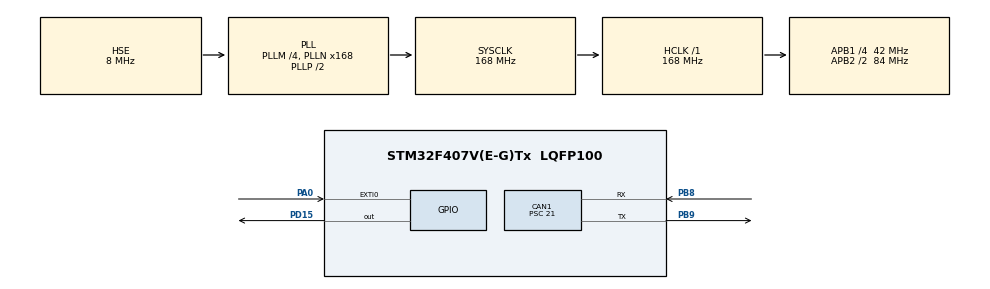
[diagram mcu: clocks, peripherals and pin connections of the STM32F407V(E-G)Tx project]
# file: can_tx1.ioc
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CAN1.BS1=CAN_BS1_2TQ
CAN1.CalculateBaudRate=500000
CAN1.CalculateTimeBit=2000
CAN1.CalculateTimeQuantum=500.0
CAN1.Prescaler=21
Mcu.Family=STM32F4
Mcu.Name=STM32F407V(E-G)Tx
Mcu.Package=LQFP100
NVIC.CAN1_RX0_IRQn=true\:0\:0\:false\:false\:true\:true\:true\:true
NVIC.EXTI0_IRQn=true\:0\:0\:false\:false\:true\:true\:true\:true
NVIC.PriorityGroup=NVIC_PRIORITYGROUP_0
PA0-WKUP.Signal=GPXTI0
PB8.GPIO_PuPd=GPIO_NOPULL
PB8.Mode=CAN_Activate
PB8.Signal=CAN1_RX
PB9.Mode=CAN_Activate
PB9.Signal=CAN1_TX
PD15.Signal=GPIO_Output
PH0-OSC_IN.Mode=HSE-External-Oscillator
PH0-OSC_IN.Signal=RCC_OSC_IN
PH1-OSC_OUT.Mode=HSE-External-Oscillator
PH1-OSC_OUT.Signal=RCC_OSC_OUT
ProjectManager.HeapSize=0x200
ProjectManager.StackSize=0x400
ProjectManager.TargetToolchain=STM32CubeIDE
RCC.48MHZClocksFreq_Value=48000000
RCC.AHBFreq_Value=168000000
RCC.APB1CLKDivider=RCC_HCLK_DIV4
RCC.APB1Freq_Value=42000000
RCC.APB1TimFreq_Value=84000000
RCC.APB2CLKDivider=RCC_HCLK_DIV2
RCC.APB2Freq_Value=84000000
RCC.APB2TimFreq_Value=168000000
RCC.CortexFreq_Value=168000000
RCC.HCLKFreq_Value=168000000
RCC.HSE_VALUE=8000000
RCC.HSI_VALUE=16000000
RCC.LSE_VALUE=32768
RCC.PLLM=4
RCC.PLLN=168
RCC.PLLQ=7
RCC.PLLSourceVirtual=RCC_PLLSOURCE_HSE
RCC.SYSCLKFreq_VALUE=168000000
RCC.SYSCLKSource=RCC_SYSCLKSOURCE_PLLCLK
RCC.VCOOutputFreq_Value=336000000
board=STM32F407G-DISC1

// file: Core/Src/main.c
/* USER CODE BEGIN Header */
/**
  ******************************************************************************
  * @file           : main.c
  * @brief          : Main program body
  ******************************************************************************
  * @attention
  *
  * Copyright (c) 2024 STMicroelectronics.
  * All rights reserved.
  *
  * This software is licensed under terms that can be found in the LICENSE file
  * in the root directory of this software component.
  * If no LICENSE file comes with this software, it is provided AS-IS.
  *
  ******************************************************************************
  */
/* USER CODE END Header */
#include "main.h"

CAN_HandleTypeDef hcan1;

void SystemClock_Config(void);
static void MX_GPIO_Init(void);
static void MX_CAN1_Init(void);

/* USER CODE BEGIN 0 */

CAN_TxHeaderTypeDef TxHeader;
CAN_RxHeaderTypeDef RxHeader;

uint8_t TxData[8];
uint8_t RxData[8];
uint32_t TxMailbox;

volatile int datacheck = 0;
volatile int switch_flag = 0;
void HAL_GPIO_EXTI_Callback(uint16_t GPIO_Pin){
////	if(GPIO_Pin == GPIO_PIN_0){
//		TxData[0] = 100;     // ms Delay
//		TxData[1] = 10;		 // loop repetition
//
//		HAL_CAN_AddTxMessage(&hcan1, &TxHeader, TxData, &TxMailbox);
////	}
	switch_flag = 1;

}

void send_message(){
	TxData[0] = 100;     // ms Delay
	TxData[1] = 10;		 // loop repetition

	HAL_CAN_AddTxMessage(&hcan1, &TxHeader, TxData, &TxMailbox);

}

void HAL_CAN_RxFifo0MsgPendingCallback(CAN_HandleTypeDef *hcan){
	if(HAL_CAN_GetRxMessage(hcan, CAN_RX_FIFO0, &RxHeader, RxData) != HAL_OK)
		Error_Handler();

	if(RxHeader.DLC == 2)
		datacheck = 1;

}

/* USER CODE END 0 */

int main(void)
{

  /* MCU Configuration--------------------------------------------------------*/

  /* Reset of all peripherals, Initializes the Flash interface and the Systick. */
  HAL_Init();

  /* Configure the system clock */
  SystemClock_Config();

  /* Initialize all configured peripherals */
  MX_GPIO_Init();
  MX_CAN1_Init();
  /* USER CODE BEGIN 2 */

  HAL_CAN_Start(&hcan1);

  HAL_CAN_ActivateNotification(&hcan1, CAN_IT_RX_FIFO0_MSG_PENDING);

  TxHeader.DLC = 2;
  TxHeader.IDE = CAN_ID_STD;
  TxHeader.RTR = CAN_RTR_DATA;
  TxHeader.StdId = 0x446;
  TxHeader.ExtId = 0x00;
  TxHeader.TransmitGlobalTime = DISABLE;

  HAL_Delay(1000);

  /* USER CODE END 2 */

  /* Infinite loop */
  while (1)
  {

    /* USER CODE BEGIN 3 */
//	  if(switch_flag){
//		  send_message();
//		  switch_flag = 0;
//	  }
	  send_message();
	  HAL_Delay(500);
	  if(datacheck){
		  for(int i = 0; i<RxData[1]; i++){
			  HAL_GPIO_TogglePin(GPIOD, GPIO_PIN_15);
			  HAL_Delay(RxData[0]);
	  	  }
		  datacheck = 0;
	  }
  }
  /* USER CODE END 3 */
}

void SystemClock_Config(void)
{
  RCC_OscInitTypeDef RCC_OscInitStruct = {0};
  RCC_ClkInitTypeDef RCC_ClkInitStruct = {0};

  /** Configure the main internal regulator output voltage
  */
  __HAL_RCC_PWR_CLK_ENABLE();
  __HAL_PWR_VOLTAGESCALING_CONFIG(PWR_REGULATOR_VOLTAGE_SCALE1);

  /** Initializes the RCC Oscillators according to the specified parameters
  * in the RCC_OscInitTypeDef structure.
  */
  RCC_OscInitStruct.OscillatorType = RCC_OSCILLATORTYPE_HSE;
  RCC_OscInitStruct.HSEState = RCC_HSE_ON;
  RCC_OscInitStruct.PLL.PLLState = RCC_PLL_ON;
  RCC_OscInitStruct.PLL.PLLSource = RCC_PLLSOURCE_HSE;
  RCC_OscInitStruct.PLL.PLLM = 4;
  RCC_OscInitStruct.PLL.PLLN = 168;
  RCC_OscInitStruct.PLL.PLLP = RCC_PLLP_DIV2;
  RCC_OscInitStruct.PLL.PLLQ = 7;
  if (HAL_RCC_OscConfig(&RCC_OscInitStruct) != HAL_OK)
  {
    Error_Handler();
  }

  /** Initializes the CPU, AHB and APB buses clocks
  */
  RCC_ClkInitStruct.ClockType = RCC_CLOCKTYPE_HCLK|RCC_CLOCKTYPE_SYSCLK
                              |RCC_CLOCKTYPE_PCLK1|RCC_CLOCKTYPE_PCLK2;
  RCC_ClkInitStruct.SYSCLKSource = RCC_SYSCLKSOURCE_PLLCLK;
  RCC_ClkInitStruct.AHBCLKDivider = RCC_SYSCLK_DIV1;
  RCC_ClkInitStruct.APB1CLKDivider = RCC_HCLK_DIV4;
  RCC_ClkInitStruct.APB2CLKDivider = RCC_HCLK_DIV2;

  if (HAL_RCC_ClockConfig(&RCC_ClkInitStruct, FLASH_LATENCY_5) != HAL_OK)
  {
    Error_Handler();
  }
}

static void MX_CAN1_Init(void)
{

  hcan1.Instance = CAN1;
  hcan1.Init.Prescaler = 21;
  hcan1.Init.Mode = CAN_MODE_NORMAL;
  hcan1.Init.SyncJumpWidth = CAN_SJW_1TQ;
  hcan1.Init.TimeSeg1 = CAN_BS1_2TQ;
  hcan1.Init.TimeSeg2 = CAN_BS2_1TQ;
  hcan1.Init.TimeTriggeredMode = DISABLE;
  hcan1.Init.AutoBusOff = DISABLE;
  hcan1.Init.AutoWakeUp = DISABLE;
  hcan1.Init.AutoRetransmission = DISABLE;
  hcan1.Init.ReceiveFifoLocked = DISABLE;
  hcan1.Init.TransmitFifoPriority = DISABLE;
  if (HAL_CAN_Init(&hcan1) != HAL_OK)
  {
    Error_Handler();
  }
  /* USER CODE BEGIN CAN1_Init 2 */

  CAN_FilterTypeDef canfilterconfig;

  canfilterconfig.FilterActivation = CAN_FILTER_ENABLE;
  canfilterconfig.FilterBank = 18;
  canfilterconfig.FilterFIFOAssignment = CAN_FILTER_FIFO0;
  canfilterconfig.FilterIdHigh = 0x103<<5;
  canfilterconfig.FilterIdLow = 0;
  canfilterconfig.FilterMode = CAN_FILTERMODE_IDMASK;
  canfilterconfig.FilterMaskIdHigh = 0x103<<5;
  canfilterconfig.FilterMaskIdLow = 0x0000;
  canfilterconfig.FilterScale = CAN_FILTERSCALE_32BIT;
  canfilterconfig.SlaveStartFilterBank = 40;

  HAL_CAN_ConfigFilter(&hcan1, &canfilterconfig);

  /* USER CODE END CAN1_Init 2 */

}

static void MX_GPIO_Init(void)
{
  GPIO_InitTypeDef GPIO_InitStruct = {0};

  /* GPIO Ports Clock Enable */
  __HAL_RCC_GPIOH_CLK_ENABLE();
  __HAL_RCC_GPIOA_CLK_ENABLE();
  __HAL_RCC_GPIOD_CLK_ENABLE();
  __HAL_RCC_GPIOB_CLK_ENABLE();

  /*Configure GPIO pin Output Level */
  HAL_GPIO_WritePin(GPIOD, GPIO_PIN_15, GPIO_PIN_RESET);

  /*Configure GPIO pin : PA0 */
  GPIO_InitStruct.Pin = GPIO_PIN_0;
  GPIO_InitStruct.Mode = GPIO_MODE_IT_RISING;
  GPIO_InitStruct.Pull = GPIO_NOPULL;
  HAL_GPIO_Init(GPIOA, &GPIO_InitStruct);

  /*Configure GPIO pin : PD15 */
  GPIO_InitStruct.Pin = GPIO_PIN_15;
  GPIO_InitStruct.Mode = GPIO_MODE_OUTPUT_PP;
  GPIO_InitStruct.Pull = GPIO_NOPULL;
  GPIO_InitStruct.Speed = GPIO_SPEED_FREQ_LOW;
  HAL_GPIO_Init(GPIOD, &GPIO_InitStruct);

  /* EXTI interrupt init*/
  HAL_NVIC_SetPriority(EXTI0_IRQn, 0, 0);
  HAL_NVIC_EnableIRQ(EXTI0_IRQn);

}

void Error_Handler(void)
{
  __disable_irq();
  while (1)
  {
  }
}
